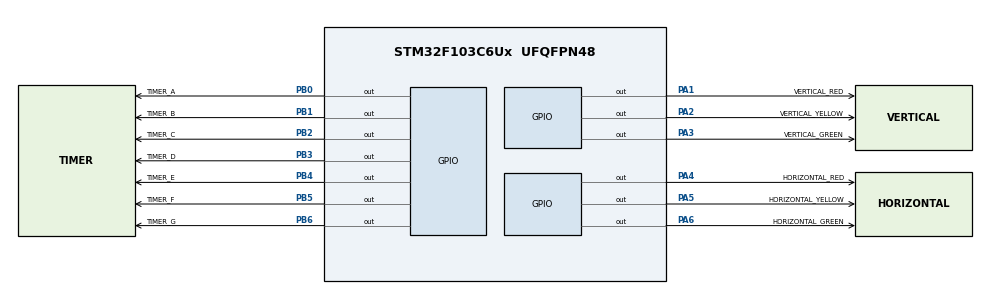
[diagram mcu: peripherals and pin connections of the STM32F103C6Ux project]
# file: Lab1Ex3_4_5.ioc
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Mcu.Family=STM32F1
Mcu.Name=STM32F103C6Ux
Mcu.Package=UFQFPN48
NVIC.PriorityGroup=NVIC_PRIORITYGROUP_4
PA1.GPIO_Label=VERTICAL_RED
PA1.Signal=GPIO_Output
PA2.GPIO_Label=VERTICAL_YELLOW
PA2.Signal=GPIO_Output
PA3.GPIO_Label=VERTICAL_GREEN
PA3.Signal=GPIO_Output
PA4.GPIO_Label=HORIZONTAL_RED
PA4.Signal=GPIO_Output
PA5.GPIO_Label=HORIZONTAL_YELLOW
PA5.Signal=GPIO_Output
PA6.GPIO_Label=HORIZONTAL_GREEN
PA6.Signal=GPIO_Output
PB0.GPIO_Label=TIMER_A
PB0.Signal=GPIO_Output
PB1.GPIO_Label=TIMER_B
PB1.Signal=GPIO_Output
PB2.GPIO_Label=TIMER_C
PB2.Signal=GPIO_Output
PB3.GPIO_Label=TIMER_D
PB3.Signal=GPIO_Output
PB4.GPIO_Label=TIMER_E
PB4.Signal=GPIO_Output
PB5.GPIO_Label=TIMER_F
PB5.Signal=GPIO_Output
PB6.GPIO_Label=TIMER_G
PB6.Signal=GPIO_Output
ProjectManager.HeapSize=0x200
ProjectManager.StackSize=0x400
ProjectManager.TargetToolchain=STM32CubeIDE
RCC.APB1Freq_Value=8000000
RCC.APB2Freq_Value=8000000
VP_SYS_VS_ND.Mode=No_Debug
board=custom

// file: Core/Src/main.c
/* USER CODE BEGIN Header */
/**
  ******************************************************************************
  * @file           : main.c
  * @brief          : Main program body
  ******************************************************************************
  * @attention
  *
  * <h2><center>&copy; Copyright (c) 2025 STMicroelectronics.
  * All rights reserved.</center></h2>
  *
  * This software component is licensed by ST under BSD 3-Clause license,
  * the "License"; You may not use this file except in compliance with the
  * License. You may obtain a copy of the License at:
  *                        opensource.org/licenses/BSD-3-Clause
  *
  ******************************************************************************
  */
/* USER CODE END Header */
#include "main.h"

void SystemClock_Config(void);
static void MX_GPIO_Init(void);

/* USER CODE BEGIN 0 */

#define COLOR_RED 0
#define TIME_RED 5

#define COLOR_YELLOW 1
#define TIME_YELLOW 2

#define COLOR_GREEN 2
#define TIME_GREEN 3

// TRAFFIC LIGHT

void clearTrafficLight() {
	HAL_GPIO_WritePin(VERTICAL_RED_GPIO_Port, VERTICAL_RED_Pin, GPIO_PIN_SET);
	HAL_GPIO_WritePin(VERTICAL_YELLOW_GPIO_Port, VERTICAL_YELLOW_Pin, GPIO_PIN_SET);
	HAL_GPIO_WritePin(VERTICAL_GREEN_GPIO_Port, VERTICAL_GREEN_Pin, GPIO_PIN_SET);
	HAL_GPIO_WritePin(HORIZONTAL_RED_GPIO_Port, HORIZONTAL_RED_Pin, GPIO_PIN_SET);
	HAL_GPIO_WritePin(HORIZONTAL_YELLOW_GPIO_Port, HORIZONTAL_YELLOW_Pin, GPIO_PIN_SET);
	HAL_GPIO_WritePin(HORIZONTAL_GREEN_GPIO_Port, HORIZONTAL_GREEN_Pin, GPIO_PIN_SET);
};

void setVerticalTrafficLights(int color) {
	switch(color)
	{
		case COLOR_RED:
			HAL_GPIO_WritePin(VERTICAL_RED_GPIO_Port, VERTICAL_RED_Pin, GPIO_PIN_RESET);
			HAL_GPIO_WritePin(VERTICAL_YELLOW_GPIO_Port, VERTICAL_YELLOW_Pin, GPIO_PIN_SET);
			HAL_GPIO_WritePin(VERTICAL_GREEN_GPIO_Port, VERTICAL_GREEN_Pin, GPIO_PIN_SET);
			break;
		case COLOR_YELLOW:
			HAL_GPIO_WritePin(VERTICAL_RED_GPIO_Port, VERTICAL_RED_Pin, GPIO_PIN_SET);
			HAL_GPIO_WritePin(VERTICAL_YELLOW_GPIO_Port, VERTICAL_YELLOW_Pin, GPIO_PIN_RESET);
			HAL_GPIO_WritePin(VERTICAL_GREEN_GPIO_Port, VERTICAL_GREEN_Pin, GPIO_PIN_SET);
			break;
		case COLOR_GREEN:
			HAL_GPIO_WritePin(VERTICAL_RED_GPIO_Port, VERTICAL_RED_Pin, GPIO_PIN_SET);
			HAL_GPIO_WritePin(VERTICAL_YELLOW_GPIO_Port, VERTICAL_YELLOW_Pin, GPIO_PIN_SET);
			HAL_GPIO_WritePin(VERTICAL_GREEN_GPIO_Port, VERTICAL_GREEN_Pin, GPIO_PIN_RESET);
			break;
	};
};

void setHorizontalTrafficLights(int color) {
	switch(color)
	{
		case COLOR_RED:
			HAL_GPIO_WritePin(HORIZONTAL_RED_GPIO_Port, HORIZONTAL_RED_Pin, GPIO_PIN_RESET);
			HAL_GPIO_WritePin(HORIZONTAL_YELLOW_GPIO_Port, HORIZONTAL_YELLOW_Pin, GPIO_PIN_SET);
			HAL_GPIO_WritePin(HORIZONTAL_GREEN_GPIO_Port, HORIZONTAL_GREEN_Pin, GPIO_PIN_SET);
			break;
		case COLOR_YELLOW:
			HAL_GPIO_WritePin(HORIZONTAL_RED_GPIO_Port, HORIZONTAL_RED_Pin, GPIO_PIN_SET);
			HAL_GPIO_WritePin(HORIZONTAL_YELLOW_GPIO_Port, HORIZONTAL_YELLOW_Pin, GPIO_PIN_RESET);
			HAL_GPIO_WritePin(HORIZONTAL_GREEN_GPIO_Port, HORIZONTAL_GREEN_Pin, GPIO_PIN_SET);
			break;
		case COLOR_GREEN:
			HAL_GPIO_WritePin(HORIZONTAL_RED_GPIO_Port, HORIZONTAL_RED_Pin, GPIO_PIN_SET);
			HAL_GPIO_WritePin(HORIZONTAL_YELLOW_GPIO_Port, HORIZONTAL_YELLOW_Pin, GPIO_PIN_SET);
			HAL_GPIO_WritePin(HORIZONTAL_GREEN_GPIO_Port, HORIZONTAL_GREEN_Pin, GPIO_PIN_RESET);
			break;
	};
};

// 7SEG DISPLAY
void display7SEG(int num) {
	switch(num) {
		case 0:
			HAL_GPIO_WritePin(TIMER_A_GPIO_Port, TIMER_A_Pin, GPIO_PIN_RESET);
			HAL_GPIO_WritePin(TIMER_B_GPIO_Port, TIMER_B_Pin, GPIO_PIN_RESET);
			HAL_GPIO_WritePin(TIMER_C_GPIO_Port, TIMER_C_Pin, GPIO_PIN_RESET);
			HAL_GPIO_WritePin(TIMER_D_GPIO_Port, TIMER_D_Pin, GPIO_PIN_RESET);
			HAL_GPIO_WritePin(TIMER_E_GPIO_Port, TIMER_E_Pin, GPIO_PIN_RESET);
			HAL_GPIO_WritePin(TIMER_F_GPIO_Port, TIMER_F_Pin, GPIO_PIN_RESET);
			HAL_GPIO_WritePin(TIMER_G_GPIO_Port, TIMER_G_Pin, GPIO_PIN_SET);
			break;
		case 1:
			HAL_GPIO_WritePin(TIMER_A_GPIO_Port, TIMER_A_Pin, GPIO_PIN_SET);
			HAL_GPIO_WritePin(TIMER_B_GPIO_Port, TIMER_B_Pin, GPIO_PIN_RESET);
			HAL_GPIO_WritePin(TIMER_C_GPIO_Port, TIMER_C_Pin, GPIO_PIN_RESET);
			HAL_GPIO_WritePin(TIMER_D_GPIO_Port, TIMER_D_Pin, GPIO_PIN_SET);
			HAL_GPIO_WritePin(TIMER_E_GPIO_Port, TIMER_E_Pin, GPIO_PIN_SET);
			HAL_GPIO_WritePin(TIMER_F_GPIO_Port, TIMER_F_Pin, GPIO_PIN_SET);
			HAL_GPIO_WritePin(TIMER_G_GPIO_Port, TIMER_G_Pin, GPIO_PIN_SET);
			break;
		case 2:
			HAL_GPIO_WritePin(TIMER_A_GPIO_Port, TIMER_A_Pin, GPIO_PIN_RESET);
			HAL_GPIO_WritePin(TIMER_B_GPIO_Port, TIMER_B_Pin, GPIO_PIN_RESET);
			HAL_GPIO_WritePin(TIMER_C_GPIO_Port, TIMER_C_Pin, GPIO_PIN_SET);
			HAL_GPIO_WritePin(TIMER_D_GPIO_Port, TIMER_D_Pin, GPIO_PIN_RESET);
			HAL_GPIO_WritePin(TIMER_E_GPIO_Port, TIMER_E_Pin, GPIO_PIN_RESET);
			HAL_GPIO_WritePin(TIMER_F_GPIO_Port, TIMER_F_Pin, GPIO_PIN_SET);
			HAL_GPIO_WritePin(TIMER_G_GPIO_Port, TIMER_G_Pin, GPIO_PIN_RESET);
			break;
		case 3:
			HAL_GPIO_WritePin(TIMER_A_GPIO_Port, TIMER_A_Pin, GPIO_PIN_RESET);
			HAL_GPIO_WritePin(TIMER_B_GPIO_Port, TIMER_B_Pin, GPIO_PIN_RESET);
			HAL_GPIO_WritePin(TIMER_C_GPIO_Port, TIMER_C_Pin, GPIO_PIN_RESET);
			HAL_GPIO_WritePin(TIMER_D_GPIO_Port, TIMER_D_Pin, GPIO_PIN_RESET);
			HAL_GPIO_WritePin(TIMER_E_GPIO_Port, TIMER_E_Pin, GPIO_PIN_SET);
			HAL_GPIO_WritePin(TIMER_F_GPIO_Port, TIMER_F_Pin, GPIO_PIN_SET);
			HAL_GPIO_WritePin(TIMER_G_GPIO_Port, TIMER_G_Pin, GPIO_PIN_RESET);
			break;
		case 4:
			HAL_GPIO_WritePin(TIMER_A_GPIO_Port, TIMER_A_Pin, GPIO_PIN_SET);
			HAL_GPIO_WritePin(TIMER_B_GPIO_Port, TIMER_B_Pin, GPIO_PIN_RESET);
			HAL_GPIO_WritePin(TIMER_C_GPIO_Port, TIMER_C_Pin, GPIO_PIN_RESET);
			HAL_GPIO_WritePin(TIMER_D_GPIO_Port, TIMER_D_Pin, GPIO_PIN_SET);
			HAL_GPIO_WritePin(TIMER_E_GPIO_Port, TIMER_E_Pin, GPIO_PIN_SET);
			HAL_GPIO_WritePin(TIMER_F_GPIO_Port, TIMER_F_Pin, GPIO_PIN_RESET);
			HAL_GPIO_WritePin(TIMER_G_GPIO_Port, TIMER_G_Pin, GPIO_PIN_RESET);
			break;
		case 5:
			HAL_GPIO_WritePin(TIMER_A_GPIO_Port, TIMER_A_Pin, GPIO_PIN_RESET);
			HAL_GPIO_WritePin(TIMER_B_GPIO_Port, TIMER_B_Pin, GPIO_PIN_SET);
			HAL_GPIO_WritePin(TIMER_C_GPIO_Port, TIMER_C_Pin, GPIO_PIN_RESET);
			HAL_GPIO_WritePin(TIMER_D_GPIO_Port, TIMER_D_Pin, GPIO_PIN_RESET);
			HAL_GPIO_WritePin(TIMER_E_GPIO_Port, TIMER_E_Pin, GPIO_PIN_SET);
			HAL_GPIO_WritePin(TIMER_F_GPIO_Port, TIMER_F_Pin, GPIO_PIN_RESET);
			HAL_GPIO_WritePin(TIMER_G_GPIO_Port, TIMER_G_Pin, GPIO_PIN_RESET);
			break;
		case 6:
			HAL_GPIO_WritePin(TIMER_A_GPIO_Port, TIMER_A_Pin, GPIO_PIN_RESET);
			HAL_GPIO_WritePin(TIMER_B_GPIO_Port, TIMER_B_Pin, GPIO_PIN_SET);
			HAL_GPIO_WritePin(TIMER_C_GPIO_Port, TIMER_C_Pin, GPIO_PIN_RESET);
			HAL_GPIO_WritePin(TIMER_D_GPIO_Port, TIMER_D_Pin, GPIO_PIN_RESET);
			HAL_GPIO_WritePin(TIMER_E_GPIO_Port, TIMER_E_Pin, GPIO_PIN_RESET);
			HAL_GPIO_WritePin(TIMER_F_GPIO_Port, TIMER_F_Pin, GPIO_PIN_RESET);
			HAL_GPIO_WritePin(TIMER_G_GPIO_Port, TIMER_G_Pin, GPIO_PIN_RESET);
			break;
		case 7:
			HAL_GPIO_WritePin(TIMER_A_GPIO_Port, TIMER_A_Pin, GPIO_PIN_RESET);
			HAL_GPIO_WritePin(TIMER_B_GPIO_Port, TIMER_B_Pin, GPIO_PIN_RESET);
			HAL_GPIO_WritePin(TIMER_C_GPIO_Port, TIMER_C_Pin, GPIO_PIN_RESET);
			HAL_GPIO_WritePin(TIMER_D_GPIO_Port, TIMER_D_Pin, GPIO_PIN_SET);
			HAL_GPIO_WritePin(TIMER_E_GPIO_Port, TIMER_E_Pin, GPIO_PIN_SET);
			HAL_GPIO_WritePin(TIMER_F_GPIO_Port, TIMER_F_Pin, GPIO_PIN_SET);
			HAL_GPIO_WritePin(TIMER_G_GPIO_Port, TIMER_G_Pin, GPIO_PIN_SET);
			break;
		case 8:
			HAL_GPIO_WritePin(TIMER_A_GPIO_Port, TIMER_A_Pin, GPIO_PIN_RESET);
			HAL_GPIO_WritePin(TIMER_B_GPIO_Port, TIMER_B_Pin, GPIO_PIN_RESET);
			HAL_GPIO_WritePin(TIMER_C_GPIO_Port, TIMER_C_Pin, GPIO_PIN_RESET);
			HAL_GPIO_WritePin(TIMER_D_GPIO_Port, TIMER_D_Pin, GPIO_PIN_RESET);
			HAL_GPIO_WritePin(TIMER_E_GPIO_Port, TIMER_E_Pin, GPIO_PIN_RESET);
			HAL_GPIO_WritePin(TIMER_F_GPIO_Port, TIMER_F_Pin, GPIO_PIN_RESET);
			HAL_GPIO_WritePin(TIMER_G_GPIO_Port, TIMER_G_Pin, GPIO_PIN_RESET);
			break;
		case 9:
			HAL_GPIO_WritePin(TIMER_A_GPIO_Port, TIMER_A_Pin, GPIO_PIN_RESET);
			HAL_GPIO_WritePin(TIMER_B_GPIO_Port, TIMER_B_Pin, GPIO_PIN_RESET);
			HAL_GPIO_WritePin(TIMER_C_GPIO_Port, TIMER_C_Pin, GPIO_PIN_RESET);
			HAL_GPIO_WritePin(TIMER_D_GPIO_Port, TIMER_D_Pin, GPIO_PIN_RESET);
			HAL_GPIO_WritePin(TIMER_E_GPIO_Port, TIMER_E_Pin, GPIO_PIN_SET);
			HAL_GPIO_WritePin(TIMER_F_GPIO_Port, TIMER_F_Pin, GPIO_PIN_RESET);
			HAL_GPIO_WritePin(TIMER_G_GPIO_Port, TIMER_G_Pin, GPIO_PIN_RESET);
			break;
		default:
			HAL_GPIO_WritePin(TIMER_A_GPIO_Port, TIMER_A_Pin, GPIO_PIN_SET);
			HAL_GPIO_WritePin(TIMER_B_GPIO_Port, TIMER_B_Pin, GPIO_PIN_SET);
			HAL_GPIO_WritePin(TIMER_C_GPIO_Port, TIMER_C_Pin, GPIO_PIN_SET);
			HAL_GPIO_WritePin(TIMER_D_GPIO_Port, TIMER_D_Pin, GPIO_PIN_SET);
			HAL_GPIO_WritePin(TIMER_E_GPIO_Port, TIMER_E_Pin, GPIO_PIN_SET);
			HAL_GPIO_WritePin(TIMER_F_GPIO_Port, TIMER_F_Pin, GPIO_PIN_SET);
			HAL_GPIO_WritePin(TIMER_G_GPIO_Port, TIMER_G_Pin, GPIO_PIN_SET);
	};
};

void test7SEG() {
	for (int number = 0; number <= 9; ++number) {
		display7SEG(number);
		HAL_Delay(1000);
	}
}
/* USER CODE END 0 */

int main(void)
{

  /* MCU Configuration--------------------------------------------------------*/

  /* Reset of all peripherals, Initializes the Flash interface and the Systick. */
  HAL_Init();

  /* Configure the system clock */
  SystemClock_Config();

  /* Initialize all configured peripherals */
  MX_GPIO_Init();

  /* Infinite loop */
  /* USER CODE BEGIN WHILE */

  clearTrafficLight();

  // TIMER AND TRAFFIC LIGHT COLOR
  int timer = TIME_RED;

  int verticalColor = COLOR_RED;
  int horizontalColor = COLOR_GREEN;

  while (1)
  {
    /* USER CODE END WHILE */

    /* USER CODE BEGIN 3 */

	  //TRAFFIC LIGHT STATES
	  // RED    GREEN
	  // RED    YELLOW
	  // GREEN  RED
	  // YELLOW RED

	  if(timer == 0)
	  {
		  switch(verticalColor)
		  {
		  case COLOR_RED:
			  timer = TIME_GREEN;

			  verticalColor = COLOR_GREEN;
			  horizontalColor = COLOR_RED;
			  break;

		  case COLOR_YELLOW:
			  timer = TIME_RED;

			  verticalColor = COLOR_RED;
			  horizontalColor = COLOR_GREEN;
			  break;

		  case COLOR_GREEN:
			  timer = TIME_YELLOW;

			  verticalColor = COLOR_YELLOW;
			  horizontalColor = COLOR_RED;
			  break;
		  }
	  }
	  else if(timer == 2 && verticalColor == COLOR_RED)
	  {
		  horizontalColor = COLOR_YELLOW;
	  }

	  // SET TRAFFIC LIGHTS
	  setVerticalTrafficLights(verticalColor);
	  setHorizontalTrafficLights(horizontalColor);

	  // SET TIMER
	  display7SEG(timer);

	  // DELAY
	  HAL_Delay(1000);

	  //
	  timer--;
  }
  /* USER CODE END 3 */
}

void SystemClock_Config(void)
{
  RCC_OscInitTypeDef RCC_OscInitStruct = {0};
  RCC_ClkInitTypeDef RCC_ClkInitStruct = {0};

  /** Initializes the RCC Oscillators according to the specified parameters
  * in the RCC_OscInitTypeDef structure.
  */
  RCC_OscInitStruct.OscillatorType = RCC_OSCILLATORTYPE_HSI;
  RCC_OscInitStruct.HSIState = RCC_HSI_ON;
  RCC_OscInitStruct.HSICalibrationValue = RCC_HSICALIBRATION_DEFAULT;
  RCC_OscInitStruct.PLL.PLLState = RCC_PLL_NONE;
  if (HAL_RCC_OscConfig(&RCC_OscInitStruct) != HAL_OK)
  {
    Error_Handler();
  }
  /** Initializes the CPU, AHB and APB buses clocks
  */
  RCC_ClkInitStruct.ClockType = RCC_CLOCKTYPE_HCLK|RCC_CLOCKTYPE_SYSCLK
                              |RCC_CLOCKTYPE_PCLK1|RCC_CLOCKTYPE_PCLK2;
  RCC_ClkInitStruct.SYSCLKSource = RCC_SYSCLKSOURCE_HSI;
  RCC_ClkInitStruct.AHBCLKDivider = RCC_SYSCLK_DIV1;
  RCC_ClkInitStruct.APB1CLKDivider = RCC_HCLK_DIV1;
  RCC_ClkInitStruct.APB2CLKDivider = RCC_HCLK_DIV1;

  if (HAL_RCC_ClockConfig(&RCC_ClkInitStruct, FLASH_LATENCY_0) != HAL_OK)
  {
    Error_Handler();
  }
}

static void MX_GPIO_Init(void)
{
  GPIO_InitTypeDef GPIO_InitStruct = {0};

  /* GPIO Ports Clock Enable */
  __HAL_RCC_GPIOA_CLK_ENABLE();
  __HAL_RCC_GPIOB_CLK_ENABLE();

  /*Configure GPIO pin Output Level */
  HAL_GPIO_WritePin(GPIOA, VERTICAL_RED_Pin|VERTICAL_YELLOW_Pin|VERTICAL_GREEN_Pin|HORIZONTAL_RED_Pin
                          |HORIZONTAL_YELLOW_Pin|HORIZONTAL_GREEN_Pin, GPIO_PIN_RESET);

  /*Configure GPIO pin Output Level */
  HAL_GPIO_WritePin(GPIOB, TIMER_A_Pin|TIMER_B_Pin|TIMER_C_Pin|TIMER_D_Pin
                          |TIMER_E_Pin|TIMER_F_Pin|TIMER_G_Pin, GPIO_PIN_RESET);

  /*Configure GPIO pins : VERTICAL_RED_Pin VERTICAL_YELLOW_Pin VERTICAL_GREEN_Pin HORIZONTAL_RED_Pin
                           HORIZONTAL_YELLOW_Pin HORIZONTAL_GREEN_Pin */
  GPIO_InitStruct.Pin = VERTICAL_RED_Pin|VERTICAL_YELLOW_Pin|VERTICAL_GREEN_Pin|HORIZONTAL_RED_Pin
                          |HORIZONTAL_YELLOW_Pin|HORIZONTAL_GREEN_Pin;
  GPIO_InitStruct.Mode = GPIO_MODE_OUTPUT_PP;
  GPIO_InitStruct.Pull = GPIO_NOPULL;
  GPIO_InitStruct.Speed = GPIO_SPEED_FREQ_LOW;
  HAL_GPIO_Init(GPIOA, &GPIO_InitStruct);

  /*Configure GPIO pins : TIMER_A_Pin TIMER_B_Pin TIMER_C_Pin TIMER_D_Pin
                           TIMER_E_Pin TIMER_F_Pin TIMER_G_Pin */
  GPIO_InitStruct.Pin = TIMER_A_Pin|TIMER_B_Pin|TIMER_C_Pin|TIMER_D_Pin
                          |TIMER_E_Pin|TIMER_F_Pin|TIMER_G_Pin;
  GPIO_InitStruct.Mode = GPIO_MODE_OUTPUT_PP;
  GPIO_InitStruct.Pull = GPIO_NOPULL;
  GPIO_InitStruct.Speed = GPIO_SPEED_FREQ_LOW;
  HAL_GPIO_Init(GPIOB, &GPIO_InitStruct);

}

void Error_Handler(void)
{
  __disable_irq();
  while (1)
  {
  }
}

/************************ (C) COPYRIGHT STMicroelectronics *****END OF FILE****/
